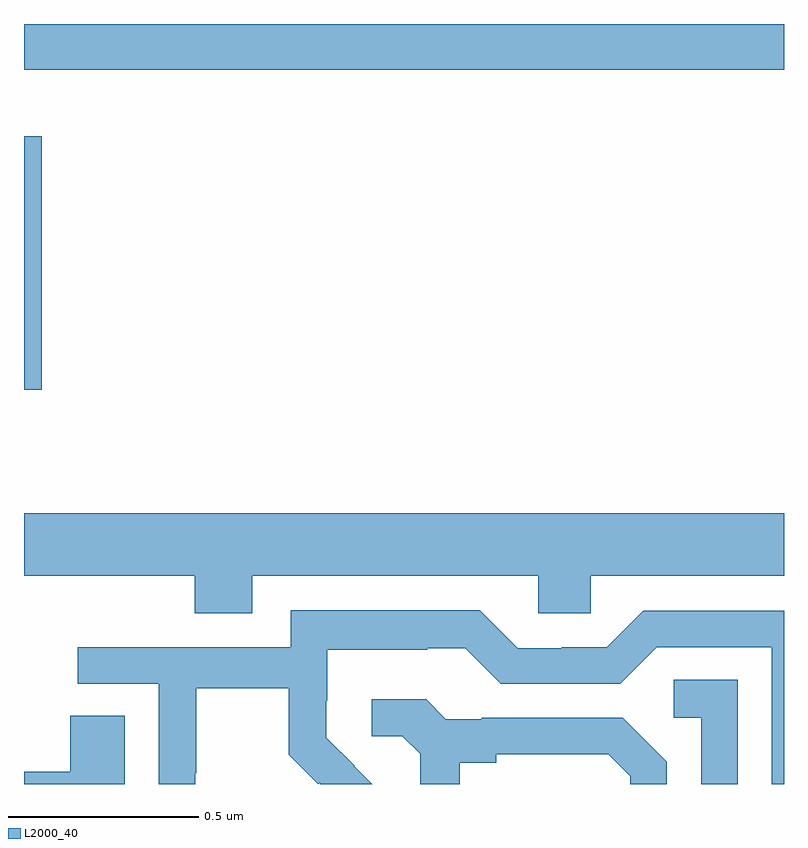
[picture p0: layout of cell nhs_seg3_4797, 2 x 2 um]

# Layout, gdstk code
import gdstk
lib = gdstk.Library(unit=1e-6, precision=1e-09)
def R(c, l, rs):  # rectangles x0, y0, x1, y1
    for r in rs: c.add(gdstk.rectangle(r[:2], r[2:], *l))
def P(c, l, *ps):  # polygons
    for p in ps: c.add(gdstk.Polygon(p, *l))
L2000_40 = (2000, 40)

nhs_seg3_4797 = lib.new_cell('nhs_seg3_4797')
R(nhs_seg3_4797, L2000_40, [(171,669.438,171.047,670.105), (171,670.28,173,670.4)])
P(nhs_seg3_4797, L2000_40, [(171.601,668.948),(172.353,668.948),(172.353,668.85),(172.491,668.85),(172.491,668.948),(173,668.948),(173,669.112),(171,669.112),(171,668.948),(171.449,668.948),(171.449,668.849),(171.601,668.849)],
  [(171.45,668.428),(171.453,668.428),(171.453,668.652),(171.697,668.652),(171.697,668.477),(171.774,668.4),(171.777,668.403),(171.78,668.4),(171.916,668.4),(171.869,668.447),(171.87,668.448),(171.796,668.522),(171.796,668.619),(171.798,668.619),(171.798,668.753),(172.061,668.753),(172.061,668.757),(172.161,668.757),(172.254,668.664),(172.569,668.664),(172.665,668.76),(172.968,668.76),(172.968,668.4),(173,668.4),(173,668.856),(172.629,668.856),(172.533,668.76),(172.415,668.76),(172.415,668.757),(172.299,668.757),(172.199,668.857),(171.702,668.857),(171.702,668.76),(171.141,668.76),(171.141,668.664),(171.354,668.664),(171.354,668.4),(171.45,668.4)],
  [(172.878,668.675),(172.71,668.675),(172.71,668.574),(172.782,668.574),(172.782,668.4),(172.878,668.4)],
  [(172.147,668.456),(172.243,668.456),(172.243,668.478),(172.538,668.478),(172.595,668.421),(172.595,668.4),(172.692,668.4),(172.692,668.458),(172.576,668.574),(172.204,668.574),(172.204,668.571),(172.11,668.571),(172.058,668.623),(171.915,668.623),(171.915,668.526),(171.996,668.526),(172.043,668.479),(172.043,668.4),(172.147,668.4)],
  [(171.265,668.579),(171.122,668.579),(171.122,668.432),(171,668.432),(171,668.4),(171.265,668.4)])

lib.write_gds('nhs_seg3_4797.gds')
